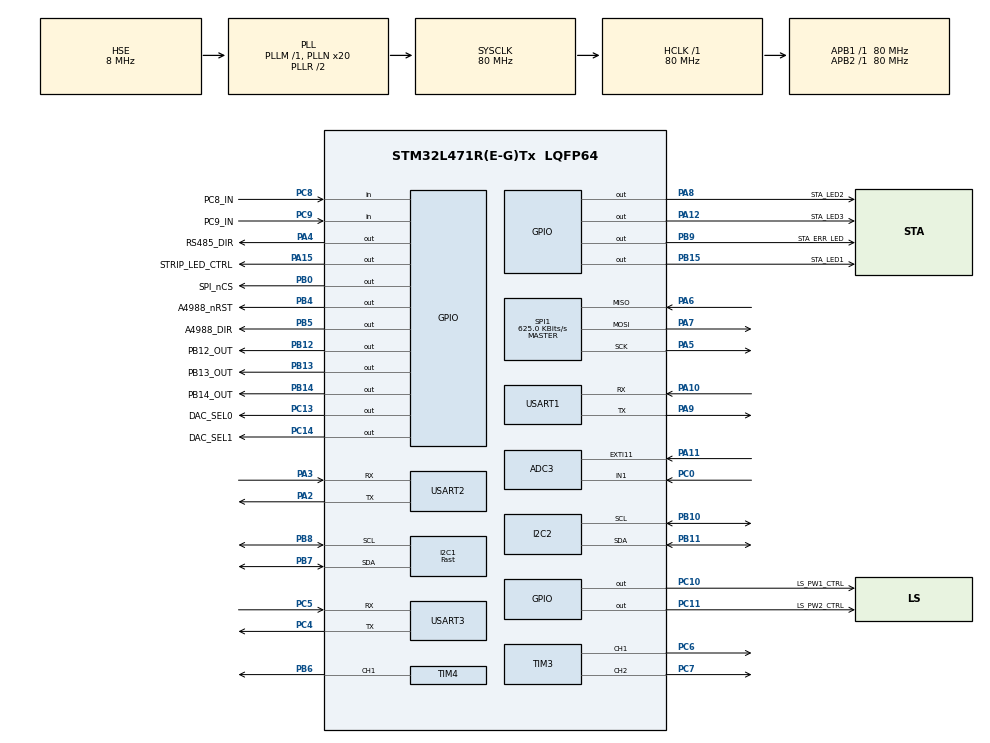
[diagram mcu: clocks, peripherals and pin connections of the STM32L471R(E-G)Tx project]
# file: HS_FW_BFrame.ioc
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ADC3.Channel-0\#ChannelRegularConversion=ADC_CHANNEL_1
ADC3.NbrOfConversionFlag=1
ADC3.OffsetNumber-0\#ChannelRegularConversion=ADC_OFFSET_NONE
ADC3.Rank-0\#ChannelRegularConversion=1
ADC3.SamplingTime-0\#ChannelRegularConversion=ADC_SAMPLETIME_2CYCLES_5
Dma.ADC3.0.Direction=DMA_PERIPH_TO_MEMORY
Dma.ADC3.0.Instance=DMA2_Channel5
Dma.ADC3.0.MemDataAlignment=DMA_MDATAALIGN_HALFWORD
Dma.ADC3.0.MemInc=DMA_MINC_ENABLE
Dma.ADC3.0.Mode=DMA_NORMAL
Dma.ADC3.0.PeriphDataAlignment=DMA_PDATAALIGN_HALFWORD
Dma.ADC3.0.PeriphInc=DMA_PINC_DISABLE
Dma.ADC3.0.Priority=DMA_PRIORITY_HIGH
Dma.Request0=ADC3
Dma.Request1=USART1_TX
Dma.USART1_TX.1.Direction=DMA_MEMORY_TO_PERIPH
Dma.USART1_TX.1.Instance=DMA1_Channel4
Dma.USART1_TX.1.MemDataAlignment=DMA_MDATAALIGN_BYTE
Dma.USART1_TX.1.MemInc=DMA_MINC_ENABLE
Dma.USART1_TX.1.Mode=DMA_NORMAL
Dma.USART1_TX.1.PeriphDataAlignment=DMA_PDATAALIGN_BYTE
Dma.USART1_TX.1.PeriphInc=DMA_PINC_DISABLE
Dma.USART1_TX.1.Priority=DMA_PRIORITY_LOW
FREERTOS.Tasks01=defaultTask,0,128,StartDefaultTask,Default,NULL,Dynamic,NULL,NULL
FREERTOS.configTOTAL_HEAP_SIZE=32768
I2C1.I2C_Speed_Mode=I2C_Fast
I2C1.Timing=0x00F12981
I2C2.Timing=0x10D19CE4
Mcu.Family=STM32L4
Mcu.Name=STM32L471R(E-G)Tx
Mcu.Package=LQFP64
NVIC.DMA1_Channel4_IRQn=true\:5\:0\:false\:false\:true\:true\:false\:true\:true
NVIC.DMA2_Channel5_IRQn=true\:5\:0\:false\:false\:true\:false\:false\:true\:true
NVIC.PriorityGroup=NVIC_PRIORITYGROUP_4
NVIC.TIM8_UP_IRQn=true\:15\:0\:false\:false\:true\:false\:false\:true\:true
NVIC.TimeBase=TIM8_UP_IRQn
NVIC.TimeBaseIP=TIM8
NVIC.USART1_IRQn=true\:5\:0\:false\:false\:true\:true\:true\:true\:true
NVIC.USART2_IRQn=true\:5\:0\:false\:false\:true\:true\:true\:true\:true
NVIC.USART3_IRQn=true\:5\:0\:false\:false\:true\:true\:true\:true\:true
PA10.GPIO_Speed=GPIO_SPEED_FREQ_HIGH
PA10.Mode=Asynchronous
PA10.Signal=USART1_RX
PA11.Signal=GPXTI11
PA12.GPIO_Label=STA_LED3
PA12.Signal=GPIO_Output
PA13\ (JTMS-SWDIO).Mode=Serial_Wire
PA13\ (JTMS-SWDIO).Signal=SYS_JTMS-SWDIO
PA14\ (JTCK-SWCLK).Mode=Serial_Wire
PA14\ (JTCK-SWCLK).Signal=SYS_JTCK-SWCLK
PA15\ (JTDI).GPIO_Label=STRIP_LED_CTRL
PA15\ (JTDI).Signal=GPIO_Output
PA2.Mode=Asynchronous
PA2.Signal=USART2_TX
PA3.Mode=Asynchronous
PA3.Signal=USART2_RX
PA4.GPIO_Label=RS485_DIR
PA4.Signal=GPIO_Output
PA5.Mode=Full_Duplex_Master
PA5.Signal=SPI1_SCK
PA6.Mode=Full_Duplex_Master
PA6.Signal=SPI1_MISO
PA7.Mode=Full_Duplex_Master
PA7.Signal=SPI1_MOSI
PA8.GPIO_Label=STA_LED2
PA8.Signal=GPIO_Output
PA9.GPIO_Speed=GPIO_SPEED_FREQ_HIGH
PA9.Mode=Asynchronous
PA9.Signal=USART1_TX
PB0.GPIO_Label=SPI_nCS
PB0.Signal=GPIO_Output
PB10.Mode=I2C
PB10.Signal=I2C2_SCL
PB11.Mode=I2C
PB11.Signal=I2C2_SDA
PB12.GPIO_Label=PB12_OUT
PB12.Signal=GPIO_Output
PB13.GPIO_Label=PB13_OUT
PB13.Signal=GPIO_Output
PB14.GPIO_Label=PB14_OUT
PB14.Signal=GPIO_Output
PB15.GPIO_Label=STA_LED1
PB15.Signal=GPIO_Output
PB4\ (NJTRST).GPIO_Label=A4988_nRST
PB4\ (NJTRST).Signal=GPIO_Output
PB5.GPIO_Label=A4988_DIR
PB5.Signal=GPIO_Output
PB6.Signal=S_TIM4_CH1
PB7.Mode=I2C
PB7.Signal=I2C1_SDA
PB8.Mode=I2C
PB8.Signal=I2C1_SCL
PB9.GPIO_Label=STA_ERR_LED
PB9.Signal=GPIO_Output
PC0.Signal=ADCx_IN1
PC10.GPIO_Label=LS_PW1_CTRL
PC10.Signal=GPIO_Output
PC11.GPIO_Label=LS_PW2_CTRL
PC11.Signal=GPIO_Output
PC13.GPIO_Label=DAC_SEL0
PC13.Signal=GPIO_Output
PC14-OSC32_IN\ (PC14).GPIO_Label=DAC_SEL1
PC14-OSC32_IN\ (PC14).Signal=GPIO_Output
PC4.Mode=Asynchronous
PC4.Signal=USART3_TX
PC5.Mode=Asynchronous
PC5.Signal=USART3_RX
PC6.Signal=S_TIM3_CH1
PC7.Signal=S_TIM3_CH2
PC8.GPIO_Label=PC8_IN
PC8.Signal=GPIO_Input
PC9.GPIO_Label=PC9_IN
PC9.Signal=GPIO_Input
PH0-OSC_IN\ (PH0).Mode=HSE-External-Oscillator
PH0-OSC_IN\ (PH0).Signal=RCC_OSC_IN
PH1-OSC_OUT\ (PH1).Mode=HSE-External-Oscillator
PH1-OSC_OUT\ (PH1).Signal=RCC_OSC_OUT
ProjectManager.HeapSize=0x200
ProjectManager.StackSize=0x400
ProjectManager.TargetToolchain=EWARM V8.32
RCC.ADCFreq_Value=32000000
RCC.AHBFreq_Value=80000000
RCC.APB1Freq_Value=80000000
RCC.APB1TimFreq_Value=80000000
RCC.APB2Freq_Value=80000000
RCC.APB2TimFreq_Value=80000000
RCC.CortexFreq_Value=80000000
RCC.HCLKFreq_Value=80000000
RCC.HSE_VALUE=8000000
RCC.HSI_VALUE=16000000
RCC.LSE_VALUE=32768
RCC.MSI_VALUE=4000000
RCC.PLLN=20
RCC.PLLSourceVirtual=RCC_PLLSOURCE_HSE
RCC.SYSCLKFreq_VALUE=80000000
RCC.SYSCLKSource=RCC_SYSCLKSOURCE_PLLCLK
RCC.VCOOutputFreq_Value=160000000
SH.ADCx_IN1.0=ADC3_IN1,IN1-Single-Ended
SH.S_TIM3_CH1.0=TIM3_CH1,PWM Generation1 CH1
SH.S_TIM3_CH2.0=TIM3_CH2,PWM Generation2 CH2
SH.S_TIM4_CH1.0=TIM4_CH1,PWM Generation1 CH1
SPI1.BaudRatePrescaler=SPI_BAUDRATEPRESCALER_128
SPI1.CalculateBaudRate=625.0 KBits/s
SPI1.DataSize=SPI_DATASIZE_8BIT
SPI1.Direction=SPI_DIRECTION_2LINES
SPI1.Mode=SPI_MODE_MASTER
SPI1.VirtualType=VM_MASTER
TIM3.Channel-PWM\ Generation1\ CH1=TIM_CHANNEL_1
TIM3.Channel-PWM\ Generation2\ CH2=TIM_CHANNEL_2
TIM4.Channel-PWM\ Generation1\ CH1=TIM_CHANNEL_1
USART1.VirtualMode-Asynchronous=VM_ASYNC
USART2.VirtualMode-Asynchronous=VM_ASYNC
USART3.VirtualMode-Asynchronous=VM_ASYNC
VP_FREERTOS_VS_CMSIS_V1.Mode=CMSIS_V1
VP_SYS_VS_tim8.Mode=TIM8
VP_TIM3_VS_ClockSourceINT.Mode=Internal
VP_TIM4_VS_ClockSourceINT.Mode=Internal
board=custom

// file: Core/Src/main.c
/* USER CODE BEGIN Header */
/**
  ******************************************************************************
  * @file           : main.c
  * @brief          : Main program body
  ******************************************************************************
  * @attention
  *
  * Copyright (c) 2025 STMicroelectronics.
  * All rights reserved.
  *
  * This software is licensed under terms that can be found in the LICENSE file
  * in the root directory of this software component.
  * If no LICENSE file comes with this software, it is provided AS-IS.
  *
  ******************************************************************************
  */
/* USER CODE END Header */
#include "main.h"
#include "cmsis_os.h"

/* USER CODE BEGIN Includes */
#include "User_Main.h"

/* USER CODE END Includes */

/* USER CODE BEGIN PM */

#if 0
/* USER CODE END PM */

ADC_HandleTypeDef hadc3;
DMA_HandleTypeDef hdma_adc3;

I2C_HandleTypeDef hi2c1;
I2C_HandleTypeDef hi2c2;

SPI_HandleTypeDef hspi1;

TIM_HandleTypeDef htim3;
TIM_HandleTypeDef htim4;

UART_HandleTypeDef huart1;
UART_HandleTypeDef huart2;
UART_HandleTypeDef huart3;
DMA_HandleTypeDef hdma_usart1_tx;

osThreadId defaultTaskHandle;
/* USER CODE BEGIN PV */
#endif

ADC_HandleTypeDef hadc3;
DMA_HandleTypeDef hdma_adc3;

I2C_HandleTypeDef hi2c1;
I2C_HandleTypeDef hi2c2;

SPI_HandleTypeDef hspi1;

TIM_HandleTypeDef htim3;
TIM_HandleTypeDef htim4;

UART_HandleTypeDef huart1;
UART_HandleTypeDef huart2;
UART_HandleTypeDef huart3;
DMA_HandleTypeDef hdma_usart1_tx;

#if 0
/* USER CODE END PV */

void SystemClock_Config(void);
static void MX_GPIO_Init(void);
static void MX_DMA_Init(void);
static void MX_ADC3_Init(void);
static void MX_TIM3_Init(void);
static void MX_USART1_UART_Init(void);
static void MX_USART2_UART_Init(void);
static void MX_USART3_UART_Init(void);
static void MX_I2C1_Init(void);
static void MX_SPI1_Init(void);
static void MX_I2C2_Init(void);
static void MX_TIM4_Init(void);
void StartDefaultTask(void const * argument);

/* USER CODE BEGIN PFP */
#endif
void SystemClock_Config(void);
static void MX_GPIO_Init(void);
static void MX_DMA_Init(void);
static void MX_ADC3_Init(void);
static void MX_TIM3_Init(void);
static void MX_USART1_UART_Init(void);
static void MX_USART2_UART_Init(void);
static void MX_USART3_UART_Init(void);
static void MX_I2C1_Init(void);
static void MX_SPI1_Init(void);
static void MX_I2C2_Init(void);
static void MX_TIM4_Init(void);

/* USER CODE END PFP */

/* USER CODE BEGIN 0 */
#if configAPPLICATION_ALLOCATED_HEAP
#pragma location= ".ccmram"
uint8_t ucHeap[ configTOTAL_HEAP_SIZE ];
#endif

/* USER CODE END 0 */

int main(void)
{

  /* MCU Configuration--------------------------------------------------------*/

  /* Reset of all peripherals, Initializes the Flash interface and the Systick. */
  HAL_Init();

  /* Configure the system clock */
  SystemClock_Config();

  /* Initialize all configured peripherals */
  MX_GPIO_Init();
  MX_DMA_Init();
  MX_ADC3_Init();
  MX_TIM3_Init();
  MX_USART1_UART_Init();
  MX_USART2_UART_Init();
  MX_USART3_UART_Init();
  MX_I2C1_Init();
  MX_SPI1_Init();
  MX_I2C2_Init();
  MX_TIM4_Init();

  /* USER CODE BEGIN RTOS_QUEUES */
  /* add queues, ... */
#if 0
  /* USER CODE END RTOS_QUEUES */

  /* Create the thread(s) */
  /* definition and creation of defaultTask */
  osThreadDef(defaultTask, StartDefaultTask, osPriorityNormal, 0, 128);
  defaultTaskHandle = osThreadCreate(osThread(defaultTask), NULL);

  /* USER CODE BEGIN RTOS_THREADS */
#endif
  /* add threads, ... */
  hsMain_User_Config();

  /* USER CODE END RTOS_THREADS */

  /* Start scheduler */
  osKernelStart();

  /* We should never get here as control is now taken by the scheduler */

  /* Infinite loop */
  while (1)
  {

  }
}

void SystemClock_Config(void)
{
  RCC_OscInitTypeDef RCC_OscInitStruct = {0};
  RCC_ClkInitTypeDef RCC_ClkInitStruct = {0};

  /** Configure the main internal regulator output voltage
  */
  if (HAL_PWREx_ControlVoltageScaling(PWR_REGULATOR_VOLTAGE_SCALE1) != HAL_OK)
  {
    Error_Handler();
  }

  /** Initializes the RCC Oscillators according to the specified parameters
  * in the RCC_OscInitTypeDef structure.
  */
  RCC_OscInitStruct.OscillatorType = RCC_OSCILLATORTYPE_HSE;
  RCC_OscInitStruct.HSEState = RCC_HSE_ON;
  RCC_OscInitStruct.PLL.PLLState = RCC_PLL_ON;
  RCC_OscInitStruct.PLL.PLLSource = RCC_PLLSOURCE_HSE;
  RCC_OscInitStruct.PLL.PLLM = 1;
  RCC_OscInitStruct.PLL.PLLN = 20;
  RCC_OscInitStruct.PLL.PLLP = RCC_PLLP_DIV7;
  RCC_OscInitStruct.PLL.PLLQ = RCC_PLLQ_DIV2;
  RCC_OscInitStruct.PLL.PLLR = RCC_PLLR_DIV2;
  if (HAL_RCC_OscConfig(&RCC_OscInitStruct) != HAL_OK)
  {
    Error_Handler();
  }

  /** Initializes the CPU, AHB and APB buses clocks
  */
  RCC_ClkInitStruct.ClockType = RCC_CLOCKTYPE_HCLK|RCC_CLOCKTYPE_SYSCLK
                              |RCC_CLOCKTYPE_PCLK1|RCC_CLOCKTYPE_PCLK2;
  RCC_ClkInitStruct.SYSCLKSource = RCC_SYSCLKSOURCE_PLLCLK;
  RCC_ClkInitStruct.AHBCLKDivider = RCC_SYSCLK_DIV1;
  RCC_ClkInitStruct.APB1CLKDivider = RCC_HCLK_DIV1;
  RCC_ClkInitStruct.APB2CLKDivider = RCC_HCLK_DIV1;

  if (HAL_RCC_ClockConfig(&RCC_ClkInitStruct, FLASH_LATENCY_4) != HAL_OK)
  {
    Error_Handler();
  }
}

static void MX_ADC3_Init(void)
{

  ADC_ChannelConfTypeDef sConfig = {0};

  /** Common config
  */
  hadc3.Instance = ADC3;
  hadc3.Init.ClockPrescaler = ADC_CLOCK_ASYNC_DIV1;
  hadc3.Init.Resolution = ADC_RESOLUTION_12B;
  hadc3.Init.DataAlign = ADC_DATAALIGN_RIGHT;
  hadc3.Init.ScanConvMode = ADC_SCAN_DISABLE;
  hadc3.Init.EOCSelection = ADC_EOC_SINGLE_CONV;
  hadc3.Init.LowPowerAutoWait = DISABLE;
  hadc3.Init.ContinuousConvMode = DISABLE;
  hadc3.Init.NbrOfConversion = 1;
  hadc3.Init.DiscontinuousConvMode = DISABLE;
  hadc3.Init.ExternalTrigConv = ADC_EXTERNALTRIG_EXT_IT11;
  hadc3.Init.ExternalTrigConvEdge = ADC_EXTERNALTRIGCONVEDGE_RISING;
  hadc3.Init.DMAContinuousRequests = DISABLE;
  hadc3.Init.Overrun = ADC_OVR_DATA_PRESERVED;
  hadc3.Init.OversamplingMode = DISABLE;
  if (HAL_ADC_Init(&hadc3) != HAL_OK)
  {
    Error_Handler();
  }

  /** Configure Regular Channel
  */
  sConfig.Channel = ADC_CHANNEL_1;
  sConfig.Rank = ADC_REGULAR_RANK_1;
  sConfig.SamplingTime = ADC_SAMPLETIME_2CYCLES_5;
  sConfig.SingleDiff = ADC_SINGLE_ENDED;
  sConfig.OffsetNumber = ADC_OFFSET_NONE;
  sConfig.Offset = 0;
  if (HAL_ADC_ConfigChannel(&hadc3, &sConfig) != HAL_OK)
  {
    Error_Handler();
  }

}

static void MX_I2C1_Init(void)
{

  hi2c1.Instance = I2C1;
  hi2c1.Init.Timing = 0x00F12981;
  hi2c1.Init.OwnAddress1 = 0;
  hi2c1.Init.AddressingMode = I2C_ADDRESSINGMODE_7BIT;
  hi2c1.Init.DualAddressMode = I2C_DUALADDRESS_DISABLE;
  hi2c1.Init.OwnAddress2 = 0;
  hi2c1.Init.OwnAddress2Masks = I2C_OA2_NOMASK;
  hi2c1.Init.GeneralCallMode = I2C_GENERALCALL_DISABLE;
  hi2c1.Init.NoStretchMode = I2C_NOSTRETCH_DISABLE;
  if (HAL_I2C_Init(&hi2c1) != HAL_OK)
  {
    Error_Handler();
  }

  /** Configure Analogue filter
  */
  if (HAL_I2CEx_ConfigAnalogFilter(&hi2c1, I2C_ANALOGFILTER_ENABLE) != HAL_OK)
  {
    Error_Handler();
  }

  /** Configure Digital filter
  */
  if (HAL_I2CEx_ConfigDigitalFilter(&hi2c1, 0) != HAL_OK)
  {
    Error_Handler();
  }

}

static void MX_I2C2_Init(void)
{

  hi2c2.Instance = I2C2;
  hi2c2.Init.Timing = 0x10D19CE4;
  hi2c2.Init.OwnAddress1 = 0;
  hi2c2.Init.AddressingMode = I2C_ADDRESSINGMODE_7BIT;
  hi2c2.Init.DualAddressMode = I2C_DUALADDRESS_DISABLE;
  hi2c2.Init.OwnAddress2 = 0;
  hi2c2.Init.OwnAddress2Masks = I2C_OA2_NOMASK;
  hi2c2.Init.GeneralCallMode = I2C_GENERALCALL_DISABLE;
  hi2c2.Init.NoStretchMode = I2C_NOSTRETCH_DISABLE;
  if (HAL_I2C_Init(&hi2c2) != HAL_OK)
  {
    Error_Handler();
  }

  /** Configure Analogue filter
  */
  if (HAL_I2CEx_ConfigAnalogFilter(&hi2c2, I2C_ANALOGFILTER_ENABLE) != HAL_OK)
  {
    Error_Handler();
  }

  /** Configure Digital filter
  */
  if (HAL_I2CEx_ConfigDigitalFilter(&hi2c2, 0) != HAL_OK)
  {
    Error_Handler();
  }

}

static void MX_SPI1_Init(void)
{

  /* SPI1 parameter configuration*/
  hspi1.Instance = SPI1;
  hspi1.Init.Mode = SPI_MODE_MASTER;
  hspi1.Init.Direction = SPI_DIRECTION_2LINES;
  hspi1.Init.DataSize = SPI_DATASIZE_8BIT;
  hspi1.Init.CLKPolarity = SPI_POLARITY_LOW;
  hspi1.Init.CLKPhase = SPI_PHASE_1EDGE;
  hspi1.Init.NSS = SPI_NSS_SOFT;
  hspi1.Init.BaudRatePrescaler = SPI_BAUDRATEPRESCALER_128;
  hspi1.Init.FirstBit = SPI_FIRSTBIT_MSB;
  hspi1.Init.TIMode = SPI_TIMODE_DISABLE;
  hspi1.Init.CRCCalculation = SPI_CRCCALCULATION_DISABLE;
  hspi1.Init.CRCPolynomial = 7;
  hspi1.Init.CRCLength = SPI_CRC_LENGTH_DATASIZE;
  hspi1.Init.NSSPMode = SPI_NSS_PULSE_ENABLE;
  if (HAL_SPI_Init(&hspi1) != HAL_OK)
  {
    Error_Handler();
  }

}

static void MX_TIM3_Init(void)
{

  TIM_ClockConfigTypeDef sClockSourceConfig = {0};
  TIM_MasterConfigTypeDef sMasterConfig = {0};
  TIM_OC_InitTypeDef sConfigOC = {0};

  htim3.Instance = TIM3;
  htim3.Init.Prescaler = 0;
  htim3.Init.CounterMode = TIM_COUNTERMODE_UP;
  htim3.Init.Period = 65535;
  htim3.Init.ClockDivision = TIM_CLOCKDIVISION_DIV1;
  htim3.Init.AutoReloadPreload = TIM_AUTORELOAD_PRELOAD_DISABLE;
  if (HAL_TIM_Base_Init(&htim3) != HAL_OK)
  {
    Error_Handler();
  }
  sClockSourceConfig.ClockSource = TIM_CLOCKSOURCE_INTERNAL;
  if (HAL_TIM_ConfigClockSource(&htim3, &sClockSourceConfig) != HAL_OK)
  {
    Error_Handler();
  }
  if (HAL_TIM_PWM_Init(&htim3) != HAL_OK)
  {
    Error_Handler();
  }
  sMasterConfig.MasterOutputTrigger = TIM_TRGO_RESET;
  sMasterConfig.MasterSlaveMode = TIM_MASTERSLAVEMODE_DISABLE;
  if (HAL_TIMEx_MasterConfigSynchronization(&htim3, &sMasterConfig) != HAL_OK)
  {
    Error_Handler();
  }
  sConfigOC.OCMode = TIM_OCMODE_PWM1;
  sConfigOC.Pulse = 0;
  sConfigOC.OCPolarity = TIM_OCPOLARITY_HIGH;
  sConfigOC.OCFastMode = TIM_OCFAST_DISABLE;
  if (HAL_TIM_PWM_ConfigChannel(&htim3, &sConfigOC, TIM_CHANNEL_1) != HAL_OK)
  {
    Error_Handler();
  }
  if (HAL_TIM_PWM_ConfigChannel(&htim3, &sConfigOC, TIM_CHANNEL_2) != HAL_OK)
  {
    Error_Handler();
  }
  HAL_TIM_MspPostInit(&htim3);

}

static void MX_TIM4_Init(void)
{

  TIM_ClockConfigTypeDef sClockSourceConfig = {0};
  TIM_MasterConfigTypeDef sMasterConfig = {0};
  TIM_OC_InitTypeDef sConfigOC = {0};

  htim4.Instance = TIM4;
  htim4.Init.Prescaler = 0;
  htim4.Init.CounterMode = TIM_COUNTERMODE_UP;
  htim4.Init.Period = 65535;
  htim4.Init.ClockDivision = TIM_CLOCKDIVISION_DIV1;
  htim4.Init.AutoReloadPreload = TIM_AUTORELOAD_PRELOAD_DISABLE;
  if (HAL_TIM_Base_Init(&htim4) != HAL_OK)
  {
    Error_Handler();
  }
  sClockSourceConfig.ClockSource = TIM_CLOCKSOURCE_INTERNAL;
  if (HAL_TIM_ConfigClockSource(&htim4, &sClockSourceConfig) != HAL_OK)
  {
    Error_Handler();
  }
  if (HAL_TIM_PWM_Init(&htim4) != HAL_OK)
  {
    Error_Handler();
  }
  sMasterConfig.MasterOutputTrigger = TIM_TRGO_RESET;
  sMasterConfig.MasterSlaveMode = TIM_MASTERSLAVEMODE_DISABLE;
  if (HAL_TIMEx_MasterConfigSynchronization(&htim4, &sMasterConfig) != HAL_OK)
  {
    Error_Handler();
  }
  sConfigOC.OCMode = TIM_OCMODE_PWM1;
  sConfigOC.Pulse = 0;
  sConfigOC.OCPolarity = TIM_OCPOLARITY_HIGH;
  sConfigOC.OCFastMode = TIM_OCFAST_DISABLE;
  if (HAL_TIM_PWM_ConfigChannel(&htim4, &sConfigOC, TIM_CHANNEL_1) != HAL_OK)
  {
    Error_Handler();
  }
  HAL_TIM_MspPostInit(&htim4);

}

static void MX_USART1_UART_Init(void)
{

  huart1.Instance = USART1;
  huart1.Init.BaudRate = 115200;
  huart1.Init.WordLength = UART_WORDLENGTH_8B;
  huart1.Init.StopBits = UART_STOPBITS_1;
  huart1.Init.Parity = UART_PARITY_NONE;
  huart1.Init.Mode = UART_MODE_TX_RX;
  huart1.Init.HwFlowCtl = UART_HWCONTROL_NONE;
  huart1.Init.OverSampling = UART_OVERSAMPLING_16;
  huart1.Init.OneBitSampling = UART_ONE_BIT_SAMPLE_DISABLE;
  huart1.AdvancedInit.AdvFeatureInit = UART_ADVFEATURE_NO_INIT;
  if (HAL_UART_Init(&huart1) != HAL_OK)
  {
    Error_Handler();
  }

}

static void MX_USART2_UART_Init(void)
{

  huart2.Instance = USART2;
  huart2.Init.BaudRate = 115200;
  huart2.Init.WordLength = UART_WORDLENGTH_8B;
  huart2.Init.StopBits = UART_STOPBITS_1;
  huart2.Init.Parity = UART_PARITY_NONE;
  huart2.Init.Mode = UART_MODE_TX_RX;
  huart2.Init.HwFlowCtl = UART_HWCONTROL_NONE;
  huart2.Init.OverSampling = UART_OVERSAMPLING_16;
  huart2.Init.OneBitSampling = UART_ONE_BIT_SAMPLE_DISABLE;
  huart2.AdvancedInit.AdvFeatureInit = UART_ADVFEATURE_NO_INIT;
  if (HAL_UART_Init(&huart2) != HAL_OK)
  {
    Error_Handler();
  }

}

static void MX_USART3_UART_Init(void)
{

  huart3.Instance = USART3;
  huart3.Init.BaudRate = 115200;
  huart3.Init.WordLength = UART_WORDLENGTH_8B;
  huart3.Init.StopBits = UART_STOPBITS_1;
  huart3.Init.Parity = UART_PARITY_NONE;
  huart3.Init.Mode = UART_MODE_TX_RX;
  huart3.Init.HwFlowCtl = UART_HWCONTROL_NONE;
  huart3.Init.OverSampling = UART_OVERSAMPLING_16;
  huart3.Init.OneBitSampling = UART_ONE_BIT_SAMPLE_DISABLE;
  huart3.AdvancedInit.AdvFeatureInit = UART_ADVFEATURE_NO_INIT;
  if (HAL_UART_Init(&huart3) != HAL_OK)
  {
    Error_Handler();
  }

}

static void MX_DMA_Init(void)
{

  /* DMA controller clock enable */
  __HAL_RCC_DMA2_CLK_ENABLE();
  __HAL_RCC_DMA1_CLK_ENABLE();

  /* DMA interrupt init */
  /* DMA1_Channel4_IRQn interrupt configuration */
  HAL_NVIC_SetPriority(DMA1_Channel4_IRQn, 5, 0);
  HAL_NVIC_EnableIRQ(DMA1_Channel4_IRQn);
  /* DMA2_Channel5_IRQn interrupt configuration */
  HAL_NVIC_SetPriority(DMA2_Channel5_IRQn, 5, 0);
  HAL_NVIC_EnableIRQ(DMA2_Channel5_IRQn);

}

static void MX_GPIO_Init(void)
{
  GPIO_InitTypeDef GPIO_InitStruct = {0};

  /* GPIO Ports Clock Enable */
  __HAL_RCC_GPIOC_CLK_ENABLE();
  __HAL_RCC_GPIOH_CLK_ENABLE();
  __HAL_RCC_GPIOA_CLK_ENABLE();
  __HAL_RCC_GPIOB_CLK_ENABLE();

  /*Configure GPIO pin Output Level */
  HAL_GPIO_WritePin(GPIOC, DAC_SEL0_Pin|DAC_SEL1_Pin|LS_PW1_CTRL_Pin|LS_PW2_CTRL_Pin, GPIO_PIN_RESET);

  /*Configure GPIO pin Output Level */
  HAL_GPIO_WritePin(GPIOA, RS485_DIR_Pin|STA_LED2_Pin|STA_LED3_Pin|STRIP_LED_CTRL_Pin, GPIO_PIN_RESET);

  /*Configure GPIO pin Output Level */
  HAL_GPIO_WritePin(GPIOB, SPI_nCS_Pin|PB12_OUT_Pin|PB13_OUT_Pin|PB14_OUT_Pin
                          |STA_LED1_Pin|A4988_nRST_Pin|A4988_DIR_Pin|STA_ERR_LED_Pin, GPIO_PIN_RESET);

  /*Configure GPIO pins : DAC_SEL0_Pin DAC_SEL1_Pin LS_PW1_CTRL_Pin LS_PW2_CTRL_Pin */
  GPIO_InitStruct.Pin = DAC_SEL0_Pin|DAC_SEL1_Pin|LS_PW1_CTRL_Pin|LS_PW2_CTRL_Pin;
  GPIO_InitStruct.Mode = GPIO_MODE_OUTPUT_PP;
  GPIO_InitStruct.Pull = GPIO_NOPULL;
  GPIO_InitStruct.Speed = GPIO_SPEED_FREQ_LOW;
  HAL_GPIO_Init(GPIOC, &GPIO_InitStruct);

  /*Configure GPIO pins : RS485_DIR_Pin STA_LED2_Pin STA_LED3_Pin STRIP_LED_CTRL_Pin */
  GPIO_InitStruct.Pin = RS485_DIR_Pin|STA_LED2_Pin|STA_LED3_Pin|STRIP_LED_CTRL_Pin;
  GPIO_InitStruct.Mode = GPIO_MODE_OUTPUT_PP;
  GPIO_InitStruct.Pull = GPIO_NOPULL;
  GPIO_InitStruct.Speed = GPIO_SPEED_FREQ_LOW;
  HAL_GPIO_Init(GPIOA, &GPIO_InitStruct);

  /*Configure GPIO pins : SPI_nCS_Pin PB12_OUT_Pin PB13_OUT_Pin PB14_OUT_Pin
                           STA_LED1_Pin A4988_nRST_Pin A4988_DIR_Pin STA_ERR_LED_Pin */
  GPIO_InitStruct.Pin = SPI_nCS_Pin|PB12_OUT_Pin|PB13_OUT_Pin|PB14_OUT_Pin
                          |STA_LED1_Pin|A4988_nRST_Pin|A4988_DIR_Pin|STA_ERR_LED_Pin;
  GPIO_InitStruct.Mode = GPIO_MODE_OUTPUT_PP;
  GPIO_InitStruct.Pull = GPIO_NOPULL;
  GPIO_InitStruct.Speed = GPIO_SPEED_FREQ_LOW;
  HAL_GPIO_Init(GPIOB, &GPIO_InitStruct);

  /*Configure GPIO pins : PC8_IN_Pin PC9_IN_Pin */
  GPIO_InitStruct.Pin = PC8_IN_Pin|PC9_IN_Pin;
  GPIO_InitStruct.Mode = GPIO_MODE_INPUT;
  GPIO_InitStruct.Pull = GPIO_NOPULL;
  HAL_GPIO_Init(GPIOC, &GPIO_InitStruct);

  /*Configure GPIO pin : PA11 */
  GPIO_InitStruct.Pin = GPIO_PIN_11;
  GPIO_InitStruct.Mode = GPIO_MODE_IT_RISING;
  GPIO_InitStruct.Pull = GPIO_NOPULL;
  HAL_GPIO_Init(GPIOA, &GPIO_InitStruct);

}

void StartDefaultTask(void const * argument)
{
  for(;;)
  {
    osDelay(1);
  }
}

void HAL_TIM_PeriodElapsedCallback(TIM_HandleTypeDef *htim)
{
  if (htim->Instance == TIM8) {
    HAL_IncTick();
  }
}

void Error_Handler(void)
{
  __disable_irq();
  while (1)
  {
  }
}
